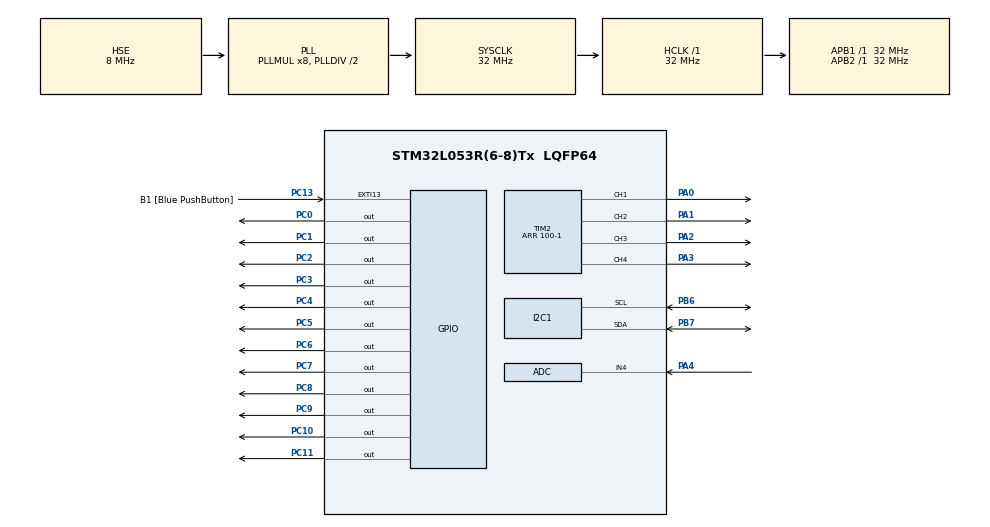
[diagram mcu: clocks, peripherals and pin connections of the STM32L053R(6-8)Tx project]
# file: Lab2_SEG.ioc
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ADC.ContinuousConvMode=ENABLE
ADC.SamplingTime=ADC_SAMPLETIME_79CYCLES_5
I2C1.Timing=0x00707CBB
Mcu.Family=STM32L0
Mcu.Name=STM32L053R(6-8)Tx
Mcu.Package=LQFP64
NVIC.TIM21_IRQn=true\:0\:0\:false\:false\:true\:true\:true\:true
PA0.Signal=S_TIM2_CH1
PA1.Signal=S_TIM2_CH2
PA13.GPIO_Label=TMS
PA13.Mode=Serial_Wire
PA13.Signal=SYS_SWDIO
PA14.GPIO_Label=TCK
PA14.Mode=Serial_Wire
PA14.Signal=SYS_SWCLK
PA2.Signal=S_TIM2_CH3
PA3.Signal=S_TIM2_CH4
PA4.Mode=IN4
PA4.Signal=ADC_IN4
PB6.GPIO_Pu=GPIO_PULLUP
PB6.Mode=I2C
PB6.Signal=I2C1_SCL
PB7.GPIO_Pu=GPIO_PULLUP
PB7.Mode=I2C
PB7.Signal=I2C1_SDA
PC0.Signal=GPIO_Output
PC1.Signal=GPIO_Output
PC10.Signal=GPIO_Output
PC11.Signal=GPIO_Output
PC13.GPIO_Label=B1 [Blue PushButton]
PC13.GPIO_ModeDefaultEXTI=GPIO_MODE_IT_FALLING
PC13.Signal=GPXTI13
PC14-OSC32_IN.Mode=LSE-External-Oscillator
PC14-OSC32_IN.Signal=RCC_OSC32_IN
PC15-OSC32_OUT.Mode=LSE-External-Oscillator
PC15-OSC32_OUT.Signal=RCC_OSC32_OUT
PC2.Signal=GPIO_Output
PC3.Signal=GPIO_Output
PC4.Signal=GPIO_Output
PC5.Signal=GPIO_Output
PC6.Signal=GPIO_Output
PC7.Signal=GPIO_Output
PC8.Signal=GPIO_Output
PC9.Signal=GPIO_Output
PH0-OSC_IN.Mode=HSE-External-Oscillator
PH0-OSC_IN.Signal=RCC_OSC_IN
PH1-OSC_OUT.Mode=HSE-External-Oscillator
PH1-OSC_OUT.Signal=RCC_OSC_OUT
ProjectManager.HeapSize=0x200
ProjectManager.StackSize=0x400
ProjectManager.TargetToolchain=MDK-ARM V5.32
RCC.AHBFreq_Value=32000000
RCC.APB1Freq_Value=32000000
RCC.APB1TimFreq_Value=32000000
RCC.APB2Freq_Value=32000000
RCC.APB2TimFreq_Value=32000000
RCC.HCLKFreq_Value=32000000
RCC.HSE_VALUE=8000000
RCC.HSI16_VALUE=16000000
RCC.HSI48_VALUE=48000000
RCC.HSI_VALUE=16000000
RCC.MSI_VALUE=2097000
RCC.PLLMUL=RCC_PLLMUL_8
RCC.PLLSourceVirtual=RCC_PLLSOURCE_HSE
RCC.SYSCLKFreq_VALUE=32000000
RCC.SYSCLKSource=RCC_SYSCLKSOURCE_PLLCLK
RCC.VCOOutputFreq_Value=64000000
SH.S_TIM2_CH1.0=TIM2_CH1,PWM Generation1 CH1
SH.S_TIM2_CH2.0=TIM2_CH2,PWM Generation2 CH2
SH.S_TIM2_CH3.0=TIM2_CH3,PWM Generation3 CH3
SH.S_TIM2_CH4.0=TIM2_CH4,PWM Generation4 CH4
TIM2.Channel-PWM\ Generation1\ CH1=TIM_CHANNEL_1
TIM2.Channel-PWM\ Generation2\ CH2=TIM_CHANNEL_2
TIM2.Channel-PWM\ Generation3\ CH3=TIM_CHANNEL_3
TIM2.Channel-PWM\ Generation4\ CH4=TIM_CHANNEL_4
TIM2.Period=100-1
TIM21.Period=100-1
TIM21.Prescaler=32-1
VP_TIM21_VS_ClockSourceINT.Mode=Internal
VP_TIM2_VS_ClockSourceINT.Mode=Internal
board=NUCLEO-L053R8

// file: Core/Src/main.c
/* USER CODE BEGIN Header */
/**
  ******************************************************************************
  * @file           : main.c
  * @brief          : Main program body
  ******************************************************************************
  * @attention
  *
  * Copyright (c) 2023 STMicroelectronics.
  * All rights reserved.
  *
  * This software is licensed under terms that can be found in the LICENSE file
  * in the root directory of this software component.
  * If no LICENSE file comes with this software, it is provided AS-IS.
  *
  ******************************************************************************
  */
/* USER CODE END Header */
#include "main.h"

/* USER CODE BEGIN Includes */
#include "IIC_1602.h"
#include <stdio.h>
/* USER CODE END Includes */

/* USER CODE BEGIN PD */
void Setpwm_duty(uint8_t channel,uint16_t val);
/* USER CODE END PD */

ADC_HandleTypeDef hadc;

I2C_HandleTypeDef hi2c1;

TIM_HandleTypeDef htim2;
TIM_HandleTypeDef htim21;

/* USER CODE BEGIN PV */
const uint8_t TBL_7SEG[] = {0x3F,0x06,0x5B,0x4F,0x66,0x6D,0x7D,0x07,0x7F,0x6F};

volatile uint16_t  TimerCnt_Scan,TimerCnt_Lcd ;
uint8_t ScanLine;
uint16_t pwm_duty;

/* USER CODE END PV */

void SystemClock_Config(void);
static void MX_GPIO_Init(void);
static void MX_TIM21_Init(void);
static void MX_ADC_Init(void);
static void MX_I2C1_Init(void);
static void MX_TIM2_Init(void);

int main(void)
{

  /* MCU Configuration--------------------------------------------------------*/

  /* Reset of all peripherals, Initializes the Flash interface and the Systick. */
  HAL_Init();

  /* Configure the system clock */
  SystemClock_Config();

  /* Initialize all configured peripherals */
  MX_GPIO_Init();
  MX_TIM21_Init();
  MX_ADC_Init();
  MX_I2C1_Init();
  MX_TIM2_Init();
  /* USER CODE BEGIN 2 */
	HAL_TIM_Base_Start_IT(&htim21);

	HAL_TIM_PWM_Start(&htim2, TIM_CHANNEL_1);
	HAL_TIM_PWM_Start(&htim2, TIM_CHANNEL_2);
	HAL_TIM_PWM_Start(&htim2, TIM_CHANNEL_3);
	HAL_TIM_PWM_Start(&htim2, TIM_CHANNEL_4);

	TimerCnt_Lcd  = 0;
	TimerCnt_Scan = 0;
	uint16_t num = 1234;
	ScanLine       = 0;

	HAL_ADCEx_Calibration_Start(&hadc,ADC_SINGLE_ENDED);
	HAL_ADC_Start(&hadc);

	Initialize_LCD(hi2c1);
	clear_LCD();

  /* USER CODE END 2 */

  /* Infinite loop */
  /* USER CODE BEGIN WHILE */
  while (1)
  {

		while(HAL_ADC_PollForConversion(&hadc,0) != HAL_OK);
		uint16_t adc_v = HAL_ADC_GetValue(&hadc);
		float voltage = (adc_v/4096.0)*3.3;
		pwm_duty = ((adc_v/4096.0)*100);
		pwm_duty =100-pwm_duty;
		num = voltage*10;

		if (TimerCnt_Lcd == 0) {

				TimerCnt_Lcd = 2000;

				char str1[20];

				sprintf(str1, "Voltage: %.2f", voltage);

				writes(0x80,str1);

			}
		if (TimerCnt_Scan == 0) {
			TimerCnt_Scan = 5;

			GPIOC->BRR = 0xFFF;

			switch (ScanLine) {
					case 0:
							Setpwm_duty(1,pwm_duty);//com1 on
							GPIOC ->BSRR =  TBL_7SEG[num/1000] &0xff;
							ScanLine = 1;
							break;
					case 1:
							Setpwm_duty(2,pwm_duty);//com2 on
							GPIOC ->BSRR =  TBL_7SEG[(num/100)%10] &0xff;
							ScanLine = 2;
							break;
					case 2:
							Setpwm_duty(3,pwm_duty);//com3 on
							GPIOC ->BSRR =  (TBL_7SEG[(num/10)%10] |0x80) &0xff;

							ScanLine = 3;
							break;
					case 3:
							Setpwm_duty(4,pwm_duty);//com4 on
							GPIOC ->BSRR =  TBL_7SEG[num%10] &0xff;

							ScanLine = 0;
							break;
			}

		}

    /* USER CODE END WHILE */

  }
}

void SystemClock_Config(void)
{
  RCC_OscInitTypeDef RCC_OscInitStruct = {0};
  RCC_ClkInitTypeDef RCC_ClkInitStruct = {0};
  RCC_PeriphCLKInitTypeDef PeriphClkInit = {0};

  /** Configure the main internal regulator output voltage
  */
  __HAL_PWR_VOLTAGESCALING_CONFIG(PWR_REGULATOR_VOLTAGE_SCALE1);

  /** Initializes the RCC Oscillators according to the specified parameters
  * in the RCC_OscInitTypeDef structure.
  */
  RCC_OscInitStruct.OscillatorType = RCC_OSCILLATORTYPE_HSE;
  RCC_OscInitStruct.HSEState = RCC_HSE_ON;
  RCC_OscInitStruct.PLL.PLLState = RCC_PLL_ON;
  RCC_OscInitStruct.PLL.PLLSource = RCC_PLLSOURCE_HSE;
  RCC_OscInitStruct.PLL.PLLMUL = RCC_PLLMUL_8;
  RCC_OscInitStruct.PLL.PLLDIV = RCC_PLLDIV_2;
  if (HAL_RCC_OscConfig(&RCC_OscInitStruct) != HAL_OK)
  {
    Error_Handler();
  }

  /** Initializes the CPU, AHB and APB buses clocks
  */
  RCC_ClkInitStruct.ClockType = RCC_CLOCKTYPE_HCLK|RCC_CLOCKTYPE_SYSCLK
                              |RCC_CLOCKTYPE_PCLK1|RCC_CLOCKTYPE_PCLK2;
  RCC_ClkInitStruct.SYSCLKSource = RCC_SYSCLKSOURCE_PLLCLK;
  RCC_ClkInitStruct.AHBCLKDivider = RCC_SYSCLK_DIV1;
  RCC_ClkInitStruct.APB1CLKDivider = RCC_HCLK_DIV1;
  RCC_ClkInitStruct.APB2CLKDivider = RCC_HCLK_DIV1;

  if (HAL_RCC_ClockConfig(&RCC_ClkInitStruct, FLASH_LATENCY_1) != HAL_OK)
  {
    Error_Handler();
  }
  PeriphClkInit.PeriphClockSelection = RCC_PERIPHCLK_I2C1;
  PeriphClkInit.I2c1ClockSelection = RCC_I2C1CLKSOURCE_PCLK1;
  if (HAL_RCCEx_PeriphCLKConfig(&PeriphClkInit) != HAL_OK)
  {
    Error_Handler();
  }
}

static void MX_ADC_Init(void)
{

  ADC_ChannelConfTypeDef sConfig = {0};

  /** Configure the global features of the ADC (Clock, Resolution, Data Alignment and number of conversion)
  */
  hadc.Instance = ADC1;
  hadc.Init.OversamplingMode = DISABLE;
  hadc.Init.ClockPrescaler = ADC_CLOCK_SYNC_PCLK_DIV2;
  hadc.Init.Resolution = ADC_RESOLUTION_12B;
  hadc.Init.SamplingTime = ADC_SAMPLETIME_79CYCLES_5;
  hadc.Init.ScanConvMode = ADC_SCAN_DIRECTION_FORWARD;
  hadc.Init.DataAlign = ADC_DATAALIGN_RIGHT;
  hadc.Init.ContinuousConvMode = ENABLE;
  hadc.Init.DiscontinuousConvMode = DISABLE;
  hadc.Init.ExternalTrigConvEdge = ADC_EXTERNALTRIGCONVEDGE_NONE;
  hadc.Init.ExternalTrigConv = ADC_SOFTWARE_START;
  hadc.Init.DMAContinuousRequests = DISABLE;
  hadc.Init.EOCSelection = ADC_EOC_SINGLE_CONV;
  hadc.Init.Overrun = ADC_OVR_DATA_PRESERVED;
  hadc.Init.LowPowerAutoWait = DISABLE;
  hadc.Init.LowPowerFrequencyMode = DISABLE;
  hadc.Init.LowPowerAutoPowerOff = DISABLE;
  if (HAL_ADC_Init(&hadc) != HAL_OK)
  {
    Error_Handler();
  }

  /** Configure for the selected ADC regular channel to be converted.
  */
  sConfig.Channel = ADC_CHANNEL_4;
  sConfig.Rank = ADC_RANK_CHANNEL_NUMBER;
  if (HAL_ADC_ConfigChannel(&hadc, &sConfig) != HAL_OK)
  {
    Error_Handler();
  }

}

static void MX_I2C1_Init(void)
{

  hi2c1.Instance = I2C1;
  hi2c1.Init.Timing = 0x00707CBB;
  hi2c1.Init.OwnAddress1 = 0;
  hi2c1.Init.AddressingMode = I2C_ADDRESSINGMODE_7BIT;
  hi2c1.Init.DualAddressMode = I2C_DUALADDRESS_DISABLE;
  hi2c1.Init.OwnAddress2 = 0;
  hi2c1.Init.OwnAddress2Masks = I2C_OA2_NOMASK;
  hi2c1.Init.GeneralCallMode = I2C_GENERALCALL_DISABLE;
  hi2c1.Init.NoStretchMode = I2C_NOSTRETCH_DISABLE;
  if (HAL_I2C_Init(&hi2c1) != HAL_OK)
  {
    Error_Handler();
  }

  /** Configure Analogue filter
  */
  if (HAL_I2CEx_ConfigAnalogFilter(&hi2c1, I2C_ANALOGFILTER_ENABLE) != HAL_OK)
  {
    Error_Handler();
  }

  /** Configure Digital filter
  */
  if (HAL_I2CEx_ConfigDigitalFilter(&hi2c1, 0) != HAL_OK)
  {
    Error_Handler();
  }

}

static void MX_TIM2_Init(void)
{

  TIM_ClockConfigTypeDef sClockSourceConfig = {0};
  TIM_MasterConfigTypeDef sMasterConfig = {0};
  TIM_OC_InitTypeDef sConfigOC = {0};

  htim2.Instance = TIM2;
  htim2.Init.Prescaler = 0;
  htim2.Init.CounterMode = TIM_COUNTERMODE_UP;
  htim2.Init.Period = 100-1;
  htim2.Init.ClockDivision = TIM_CLOCKDIVISION_DIV1;
  htim2.Init.AutoReloadPreload = TIM_AUTORELOAD_PRELOAD_DISABLE;
  if (HAL_TIM_Base_Init(&htim2) != HAL_OK)
  {
    Error_Handler();
  }
  sClockSourceConfig.ClockSource = TIM_CLOCKSOURCE_INTERNAL;
  if (HAL_TIM_ConfigClockSource(&htim2, &sClockSourceConfig) != HAL_OK)
  {
    Error_Handler();
  }
  if (HAL_TIM_PWM_Init(&htim2) != HAL_OK)
  {
    Error_Handler();
  }
  sMasterConfig.MasterOutputTrigger = TIM_TRGO_RESET;
  sMasterConfig.MasterSlaveMode = TIM_MASTERSLAVEMODE_DISABLE;
  if (HAL_TIMEx_MasterConfigSynchronization(&htim2, &sMasterConfig) != HAL_OK)
  {
    Error_Handler();
  }
  sConfigOC.OCMode = TIM_OCMODE_PWM1;
  sConfigOC.Pulse = 0;
  sConfigOC.OCPolarity = TIM_OCPOLARITY_HIGH;
  sConfigOC.OCFastMode = TIM_OCFAST_DISABLE;
  if (HAL_TIM_PWM_ConfigChannel(&htim2, &sConfigOC, TIM_CHANNEL_1) != HAL_OK)
  {
    Error_Handler();
  }
  if (HAL_TIM_PWM_ConfigChannel(&htim2, &sConfigOC, TIM_CHANNEL_2) != HAL_OK)
  {
    Error_Handler();
  }
  if (HAL_TIM_PWM_ConfigChannel(&htim2, &sConfigOC, TIM_CHANNEL_3) != HAL_OK)
  {
    Error_Handler();
  }
  if (HAL_TIM_PWM_ConfigChannel(&htim2, &sConfigOC, TIM_CHANNEL_4) != HAL_OK)
  {
    Error_Handler();
  }
  HAL_TIM_MspPostInit(&htim2);

}

static void MX_TIM21_Init(void)
{

  TIM_ClockConfigTypeDef sClockSourceConfig = {0};
  TIM_MasterConfigTypeDef sMasterConfig = {0};

  htim21.Instance = TIM21;
  htim21.Init.Prescaler = 32-1;
  htim21.Init.CounterMode = TIM_COUNTERMODE_UP;
  htim21.Init.Period = 100-1;
  htim21.Init.ClockDivision = TIM_CLOCKDIVISION_DIV1;
  htim21.Init.AutoReloadPreload = TIM_AUTORELOAD_PRELOAD_DISABLE;
  if (HAL_TIM_Base_Init(&htim21) != HAL_OK)
  {
    Error_Handler();
  }
  sClockSourceConfig.ClockSource = TIM_CLOCKSOURCE_INTERNAL;
  if (HAL_TIM_ConfigClockSource(&htim21, &sClockSourceConfig) != HAL_OK)
  {
    Error_Handler();
  }
  sMasterConfig.MasterOutputTrigger = TIM_TRGO_RESET;
  sMasterConfig.MasterSlaveMode = TIM_MASTERSLAVEMODE_DISABLE;
  if (HAL_TIMEx_MasterConfigSynchronization(&htim21, &sMasterConfig) != HAL_OK)
  {
    Error_Handler();
  }

}

static void MX_GPIO_Init(void)
{
  GPIO_InitTypeDef GPIO_InitStruct = {0};

  /* GPIO Ports Clock Enable */
  __HAL_RCC_GPIOC_CLK_ENABLE();
  __HAL_RCC_GPIOH_CLK_ENABLE();
  __HAL_RCC_GPIOA_CLK_ENABLE();
  __HAL_RCC_GPIOB_CLK_ENABLE();

  /*Configure GPIO pin Output Level */
  HAL_GPIO_WritePin(GPIOC, GPIO_PIN_0|GPIO_PIN_1|GPIO_PIN_2|GPIO_PIN_3
                          |GPIO_PIN_4|GPIO_PIN_5|GPIO_PIN_6|GPIO_PIN_7
                          |GPIO_PIN_8|GPIO_PIN_9|GPIO_PIN_10|GPIO_PIN_11, GPIO_PIN_RESET);

  /*Configure GPIO pin : B1_Pin */
  GPIO_InitStruct.Pin = B1_Pin;
  GPIO_InitStruct.Mode = GPIO_MODE_IT_FALLING;
  GPIO_InitStruct.Pull = GPIO_NOPULL;
  HAL_GPIO_Init(B1_GPIO_Port, &GPIO_InitStruct);

  /*Configure GPIO pins : PC0 PC1 PC2 PC3
                           PC4 PC5 PC6 PC7
                           PC8 PC9 PC10 PC11 */
  GPIO_InitStruct.Pin = GPIO_PIN_0|GPIO_PIN_1|GPIO_PIN_2|GPIO_PIN_3
                          |GPIO_PIN_4|GPIO_PIN_5|GPIO_PIN_6|GPIO_PIN_7
                          |GPIO_PIN_8|GPIO_PIN_9|GPIO_PIN_10|GPIO_PIN_11;
  GPIO_InitStruct.Mode = GPIO_MODE_OUTPUT_PP;
  GPIO_InitStruct.Pull = GPIO_NOPULL;
  GPIO_InitStruct.Speed = GPIO_SPEED_FREQ_LOW;
  HAL_GPIO_Init(GPIOC, &GPIO_InitStruct);

}

/* USER CODE BEGIN 4 */
void HAL_TIM_PeriodElapsedCallback(TIM_HandleTypeDef *htim)
{
	 if(htim->Instance == htim21.Instance){
		 if(TimerCnt_Scan>0)
				TimerCnt_Scan--;
		 if(TimerCnt_Lcd>0)
				TimerCnt_Lcd--;
 }
}

void Setpwm_duty(uint8_t channel, uint16_t val) {
    val = 100 - val;

    uint16_t pwm_values[4] = {100, 100, 100, 100};

		if(channel<=4 && channel>=1)
			pwm_values[channel - 1] = val;

		htim2.Instance ->CCR1 =  pwm_values[0];
		htim2.Instance ->CCR2 =  pwm_values[1];
		htim2.Instance ->CCR3 =  pwm_values[2];
		htim2.Instance ->CCR4 =  pwm_values[3];
}
/* USER CODE END 4 */

void Error_Handler(void)
{
  __disable_irq();
  while (1)
  {
  }
}
